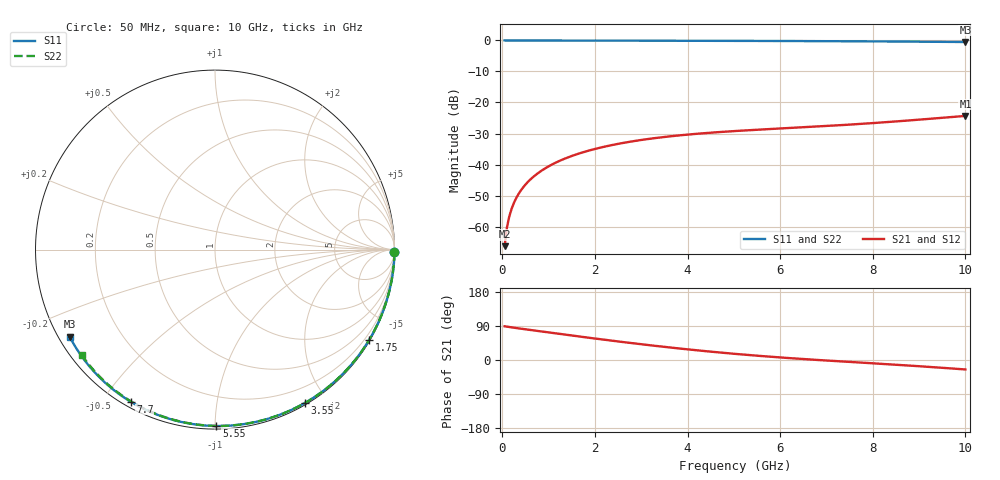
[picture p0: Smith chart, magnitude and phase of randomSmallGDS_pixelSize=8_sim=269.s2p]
! freq	dB(S11)	phase(S11)	dB(S12)	phase(S12)
!  dB(S21)	phase(S21)	dB(S22)	phase(S22)
!S-par simulation data
#  GHz  S  DB  R 50
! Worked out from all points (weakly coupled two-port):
!   200 points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, 50 MHz to 10 GHz, reference 50 ohm
!   highest |S21| = -24.32 dB at 10 GHz (marker M1); lowest = -66.3 dB at 50 MHz (marker M2)
!   lowest |S11| = -0.5 dB at 10 GHz (marker M3), VSWR 34.65, Z = 1.55 - j13.8 ohm
!   |S11| at or under -10 dB: nowhere
!   |S22| runs from -0.5 to 0.0 dB; largest |S21 - S12| = 0
!   S11 on the Smith chart (normalised r, x): 50 MHz: open; 1.75 GHz: 0.03, -3.70; 3.55 GHz: 0.02, -1.75; 5.55 GHz: 0.02, -1.01; 7.7 GHz: 0.02, -0.59; 10 GHz: 0.03, -0.28
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0.05  -0.00 -0.9  -66.32 89.0  -66.32 89.0  -0.00 -0.8
0.1  -0.00 -1.8  -60.31 88.0  -60.31 88.0  -0.00 -1.7
0.15  -0.00 -2.6  -56.80 87.0  -56.80 87.0  -0.00 -2.5
0.2  -0.00 -3.5  -54.32 86.1  -54.32 86.1  -0.00 -3.3
0.25  -0.00 -4.4  -52.40 85.2  -52.40 85.2  -0.00 -4.2
0.35  -0.00 -6.1  -49.52 83.5  -49.52 83.5  -0.00 -5.8
0.5  -0.01 -8.8  -46.47 81.0  -46.47 81.0  -0.01 -8.3
0.7  -0.01 -12.2  -43.60 77.7  -43.60 77.7  -0.01 -11.6
1  -0.02 -17.4  -40.58 72.8  -40.58 72.8  -0.02 -16.6
1.35  -0.03 -23.4  -38.10 67.1  -38.10 67.1  -0.03 -22.3
1.75  -0.04 -30.2  -36.02 60.6  -36.02 60.6  -0.04 -28.7
2.5  -0.06 -42.7  -33.33 49.0  -33.33 49.0  -0.05 -40.6
3.4  -0.08 -57.2  -31.29 36.0  -31.29 36.0  -0.07 -54.5
3.55  -0.08 -59.6  -31.03 34.0  -31.03 34.0  -0.08 -56.7
4.3  -0.10 -71.2  -29.97 24.4  -29.97 24.4  -0.10 -67.8
5.05  -0.13 -82.4  -29.18 15.9  -29.18 15.9  -0.12 -78.5
5.55  -0.15 -89.6  -28.74 10.9  -28.74 10.9  -0.14 -85.4
6.7  -0.21 -105.6  -27.83 0.9  -27.83 0.9  -0.20 -100.7
7.7  -0.27 -119.0  -26.94 -6.5  -26.94 -6.5  -0.26 -113.5
8.35  -0.33 -127.6  -26.27 -11.3  -26.27 -11.3  -0.31 -121.6
9.2  -0.41 -138.6  -25.30 -18.0  -25.30 -18.0  -0.39 -132.0
10  -0.50 -149.1  -24.32 -25.0  -24.32 -25.0  -0.48 -141.8
